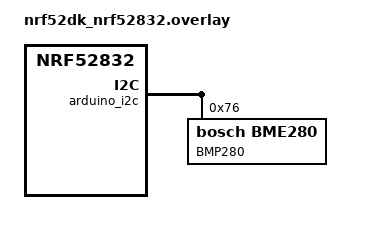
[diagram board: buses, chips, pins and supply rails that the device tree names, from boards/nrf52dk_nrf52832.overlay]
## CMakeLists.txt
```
# Copyright (C) 2022 Dominik Chat, Paweł Majtas
#
# This file is part of Stacja Pogody - remote weather station based on NRF DK
# and a Raspberry Pi.
#
# Stacja Pogody is free software: you can redistribute it and/or
# modify it under the terms of the GNU General Public License
# as published by the Free Software Foundation, either version 3
# of the License, or (at your option) any later version.
#
# Stacja Pogody is distributed in the hope that it will be useful,
# but WITHOUT ANY WARRANTY; without even the implied warranty of
# MERCHANTABILITY or FITNESS FOR A PARTICULAR PURPOSE.
# See the GNU General Public License for more details.
#
# You should have received a copy of the GNU General Public License
# along with Stacja Pogody. If not, see <https://www.gnu.org/licenses/>.

cmake_minimum_required(VERSION 3.20.0)
find_package(Zephyr REQUIRED HINTS $ENV{ZEPHYR_BASE})

project(SensorStation)

target_sources(app PRIVATE
  src/main.c
  src/ess.c
)
```

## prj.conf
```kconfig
CONFIG_SENSOR=y
CONFIG_BME280=y
CONFIG_LOG=y
CONFIG_LOG_PRINTK=y
CONFIG_I2C=y
#CBPRINTF_FP_SUPPORT=y
CONFIG_BT=y
CONFIG_BT_PERIPHERAL=y
CONFIG_BT_DEVICE_NAME="StacjaPogody"
```

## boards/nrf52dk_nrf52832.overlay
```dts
&arduino_i2c {
	bme280: bme280@76 {
		/* 0x76 - SDO <-> GND */
		/* 0x77 - SDO <-> VCC */
		compatible = "bosch,bme280";
		reg = <0x76>;
		label = "BMP280";
	};
};
```

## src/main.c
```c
/*
 * Copyright (C) 2022 Dominik Chat, Paweł Majtas
 *
 * This file is part of Stacja Pogody - remote weather station based on NRF DK
 * and a Raspberry Pi.
 *
 * Stacja Pogody is free software: you can redistribute it and/or
 * modify it under the terms of the GNU General Public License
 * as published by the Free Software Foundation, either version 3
 * of the License, or (at your option) any later version.
 *
 * Stacja Pogody is distributed in the hope that it will be useful,
 * but WITHOUT ANY WARRANTY; without even the implied warranty of
 * MERCHANTABILITY or FITNESS FOR A PARTICULAR PURPOSE.
 * See the GNU General Public License for more details.
 *
 * You should have received a copy of the GNU General Public License
 * along with Stacja Pogody. If not, see <https://www.gnu.org/licenses/>.
 */

#include <zephyr.h>
#include <device.h>
#include <devicetree.h>
#include <drivers/sensor.h>

#include <bluetooth/bluetooth.h>
#include <bluetooth/hci.h>
#include <bluetooth/conn.h>
#include <bluetooth/uuid.h>
#include <bluetooth/gatt.h>

#include "ess.h"

#define MODULE main
#include <logging/log.h>
LOG_MODULE_REGISTER(MODULE);


static const struct bt_data adver[] = {
	BT_DATA_BYTES(BT_DATA_FLAGS, (BT_LE_AD_GENERAL | BT_LE_AD_NO_BREDR)),
	BT_DATA(BT_DATA_NAME_COMPLETE, CONFIG_BT_DEVICE_NAME,
		(sizeof(CONFIG_BT_DEVICE_NAME) - 1)),
};

static const struct bt_data serv[] = {
	BT_DATA_BYTES(BT_DATA_UUID128_ALL, BT_UUID_16_ENCODE(BT_UUID_ESS_VAL)),
};


static int read_bmp(const struct device *dev, double *temp, double *press)
{
	struct sensor_value tmp;

	if (dev == NULL) {
		return -EINVAL;
	}

	sensor_sample_fetch(dev);
	sensor_channel_get(dev, SENSOR_CHAN_AMBIENT_TEMP, &tmp);
	*temp = sensor_value_to_double(&tmp);
	sensor_channel_get(dev, SENSOR_CHAN_PRESS, &tmp);
	*press = sensor_value_to_double(&tmp);

	return 0;
}

void main(void)
{
	const struct device *dev;
	double temp, press;
	int err;

	dev = DEVICE_DT_GET_ANY(bosch_bme280);
	if (dev == NULL) {
		LOG_ERR("Invalid DTS.");
		return;
	}

	if (!device_is_ready(dev)) {
		LOG_ERR("Error initializing bmp280.");
		return;
	}

	err = bt_enable(NULL);
	if (err) {
		LOG_ERR("Bluetooth init failed .");
		return;
	}

	if (bt_ess_init()) {
		LOG_ERR("Error initializing ESS.");
		return;
	}

	err = bt_le_adv_start(BT_LE_ADV_CONN, adver, ARRAY_SIZE(adver),
			      serv, ARRAY_SIZE(serv));
	if (err) {
		LOG_ERR("Advertising failed.");
		return;
	}

	while (1) {
		err = read_bmp(dev, &temp, &press);
		if (err) {
			LOG_ERR("Invalid value.");
			return;
		}

		LOG_INF("Press retval %i ", bt_ess_send_pressure(press));
		LOG_INF("Temp retval %i \n", bt_ess_send_temperature(temp));

		k_sleep(K_MSEC(1000));
	}
}
```

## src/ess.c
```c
/*
 * Copyright (C) 2022 Dominik Chat, Paweł Majtas
 *
 * This file is part of Stacja Pogody - remote weather station based on NRF DK
 * and a Raspberry Pi.
 *
 * Stacja Pogody is free software: you can redistribute it and/or
 * modify it under the terms of the GNU General Public License
 * as published by the Free Software Foundation, either version 3
 * of the License, or (at your option) any later version.
 *
 * Stacja Pogody is distributed in the hope that it will be useful,
 * but WITHOUT ANY WARRANTY; without even the implied warranty of
 * MERCHANTABILITY or FITNESS FOR A PARTICULAR PURPOSE.
 * See the GNU General Public License for more details.
 *
 * You should have received a copy of the GNU General Public License
 * along with Stacja Pogody. If not, see <https://www.gnu.org/licenses/>.
 */

#include <zephyr.h>

#include <bluetooth/bluetooth.h>
#include <bluetooth/hci.h>
#include <bluetooth/conn.h>
#include <bluetooth/uuid.h>
#include <bluetooth/gatt.h>

#include "ess.h"


static bool notify_press;
static bool notify_temp;
static uint32_t pressure;
static int16_t temperature;


static uint32_t press_to_val(double press)
{
	return (press * 10 * 1000);
}

static int16_t temp_to_val(double temp)
{
	return (temp * 100);
}

static ssize_t read_press(struct bt_conn *conn, const struct bt_gatt_attr *attr,
			  void *buf, uint16_t len, uint16_t offset)
{
	const uint32_t *press = attr->user_data;

	return bt_gatt_attr_read(conn, attr, buf, len, offset, press,
				 sizeof(*press));

	return 0;
}

static ssize_t read_temp(struct bt_conn *conn, const struct bt_gatt_attr *attr,
			 void *buf, uint16_t len, uint16_t offset)
{
	const int16_t *temp = attr->user_data;

	return bt_gatt_attr_read(conn, attr, buf, len, offset, temp,
				 sizeof(*temp));

	return 0;
}

static void press_ccc_cfg(const struct bt_gatt_attr *attr, uint16_t value)
{
	notify_press = (value == BT_GATT_CCC_NOTIFY);
}

static void temp_ccc_cfg(const struct bt_gatt_attr *attr, uint16_t value)
{
	notify_temp = (value == BT_GATT_CCC_NOTIFY);
}


BT_GATT_SERVICE_DEFINE(ess_svc,
BT_GATT_PRIMARY_SERVICE(BT_UUID_ESS),
	BT_GATT_CHARACTERISTIC(BT_UUID_PRESSURE,
			       BT_GATT_CHRC_READ | BT_GATT_CHRC_NOTIFY,
			       BT_GATT_PERM_READ,
			       read_press, NULL, &pressure),
	BT_GATT_CCC(press_ccc_cfg, BT_GATT_PERM_READ | BT_GATT_PERM_WRITE),
	BT_GATT_CHARACTERISTIC(BT_UUID_TEMPERATURE,
			       BT_GATT_CHRC_READ | BT_GATT_CHRC_NOTIFY,
			       BT_GATT_PERM_READ,
			       read_temp, NULL, &temperature),
	BT_GATT_CCC(temp_ccc_cfg,  BT_GATT_PERM_READ | BT_GATT_PERM_WRITE),
);


int bt_ess_init()
{
	return 0;
}

int bt_ess_send_pressure(double press)
{
	pressure = press_to_val(press);

	if (!notify_press) {
		return -EACCES;
	}

	return bt_gatt_notify(NULL, &ess_svc.attrs[2], &pressure,
							sizeof(pressure));
}

int bt_ess_send_temperature(double temp)
{
	temperature = temp_to_val(temp);

	if (!notify_temp) {
		return -EACCES;
	}

	return bt_gatt_notify(NULL, &ess_svc.attrs[4], &temperature,
							sizeof(temperature));
}
```

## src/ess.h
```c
/*
 * Copyright (C) 2022 Dominik Chat, Paweł Majtas
 *
 * This file is part of Stacja Pogody - remote weather station based on NRF DK
 * and a Raspberry Pi.
 *
 * Stacja Pogody is free software: you can redistribute it and/or
 * modify it under the terms of the GNU General Public License
 * as published by the Free Software Foundation, either version 3
 * of the License, or (at your option) any later version.
 *
 * Stacja Pogody is distributed in the hope that it will be useful,
 * but WITHOUT ANY WARRANTY; without even the implied warranty of
 * MERCHANTABILITY or FITNESS FOR A PARTICULAR PURPOSE.
 * See the GNU General Public License for more details.
 *
 * You should have received a copy of the GNU General Public License
 * along with Stacja Pogody. If not, see <https://www.gnu.org/licenses/>.
 */

#ifndef _ESS_H_
#define _ESS_H_

int bt_ess_init(void);

int bt_ess_send_pressure(double press);

int bt_ess_send_temperature(double temp);

#endif /* _ESS_H_ */
```
